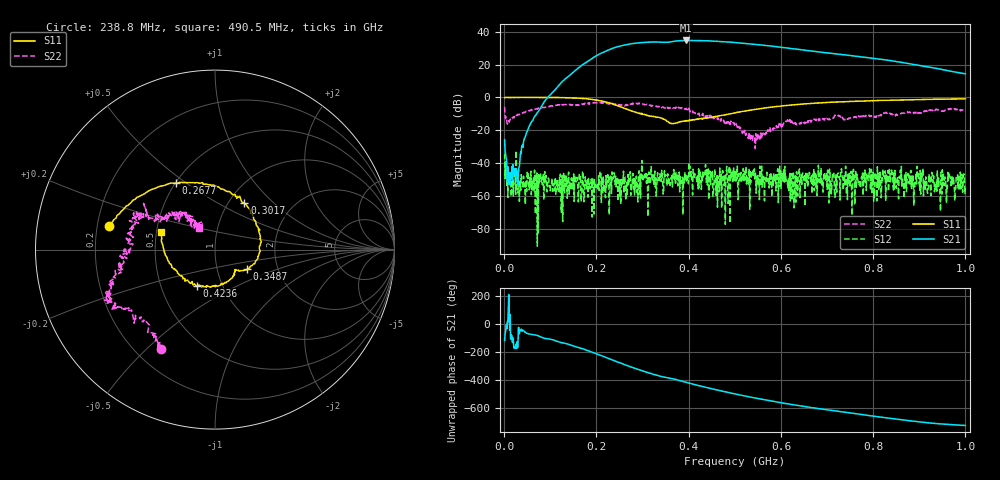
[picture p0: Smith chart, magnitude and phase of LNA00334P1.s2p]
! Created with skrf 1.9.0 (http://scikit-rf.org).
# Hz S RI R 50.0
!freq ReS11 ImS11 ReS21 ImS21 ReS12 ImS12 ReS22 ImS22
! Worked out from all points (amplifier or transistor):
!   1001 points, 1 MHz to 1 GHz, reference 50 ohm
!   highest |S21| = 34.7 dB at 394.6 MHz (marker M1)
!   |S21| within 3 dB of that: 257.5 MHz to 565.5 MHz (308 MHz wide, 74.8 % of centre)
!   unconditionally stable (mu >= 1): 208.4 MHz to 297.9 MHz; 299.1 MHz to 400.5 MHz; 400.9 MHz to end of sweep (the widest 3 of 27)
!   at 166.8 MHz: K = 5.71, MAG = 30.8 dB, |S12| = -63.4 dB
!   at 500.5 MHz: K = 2.94, MAG = 34.0 dB, |S12| = -49.7 dB
!   at 1 GHz: K = 8.35, MAG = 22.5 dB, |S12| = -55.0 dB
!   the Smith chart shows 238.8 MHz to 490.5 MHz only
!   S11 on the Smith chart (normalised r, x): 238.8 MHz: 0.25, +0.10; 267.7 MHz: 0.50, +0.46; 301.7 MHz: 1.18, +0.68; 348.7 MHz: 1.39, -0.32; 423.6 MHz: 0.76, -0.32; 490.5 MHz: 0.53, +0.12
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1000000  0.9806 0.0143  -0.0245 -0.0447  -0.0123 0.0149  0.3057 0.4128
1.08892e8  0.5137 -0.8515  -0.7849 -1.433  -0.00145 -0.000532  0.4365 -0.3572
1.67833e8  -0.2527 -0.8974  -9.39 -0.5696  0.000171 -0.00106  0.0407 -0.6265
2.08792e8  -0.6878 -0.3797  -15.14 15.4  -0.00382 -0.00372  -0.2037 -0.6475
2.38762e8  -0.5887 0.1302  -3.179 32.32  -0.00242 -0.00438  -0.3021 -0.5557
2.67733e8  -0.2181 0.3701  20.6 35.43  -0.00125 -0.00196  -0.4652 -0.3361
3.01699e8  0.1638 0.2595  43.75 16.95  7.16e-05 0.00359  -0.5794 -0.2005
3.18682e8  0.2492 0.1083  48.42 3.416  0.00277 0.0073  -0.523 -0.1257
3.34666e8  0.2462 -0.0226  47.37 -9.64  -0.00263 0.0015  -0.5197 -0.0457
3.48652e8  0.178 -0.1092  44.01 -18.14  -0.00155 0.00349  -0.4782 -0.00703
3.72628e8  0.1121 -0.1247  40.61 -32.53  0.00168 0.0048  -0.477 0.1614
3.94606e8  0.0558 -0.1827  27.67 -46.53  -0.00271 0.000879  -0.4295 0.1671
4.23577e8  -0.0998 -0.2018  5.698 -53.21  0.00286 0.00561  -0.2176 0.1677
4.55545e8  -0.2399 -0.099  -16.9 -48.62  0.000633 0.00297  -0.1636 0.1801
4.9051e8  -0.3017 0.1003  -33.75 -33.94  0.00629 -0.00148  -0.0893 0.1211
5.005e8  -0.2969 0.1546  -36.96 -29.09  -0.00168 -0.00281  -0.1066 0.128
5.4046e8  -0.2013 0.3711  -40.72 -8.165  0.00541 -0.000362  -0.058 0.0384
5.88412e8  0.0225 0.5236  -33.42 11.12  0.0044 0.00016  -0.0889 -0.0618
6.67333e8  0.417 0.5066  -12.7 22.18  0.00041 -0.0011  -0.1934 -0.0307
7.53247e8  0.6986 0.2841  3.028 18.31  0.00114 -0.00104  -0.2305 0.00222
8.34166e8  0.8176 0.0105  9.481 9.472  -0.00137 -0.0017  -0.3322 -0.0377
1e9  0.7279 -0.5374  5.191 -0.6762  0.00111 -0.00139  -0.332 0.2651
